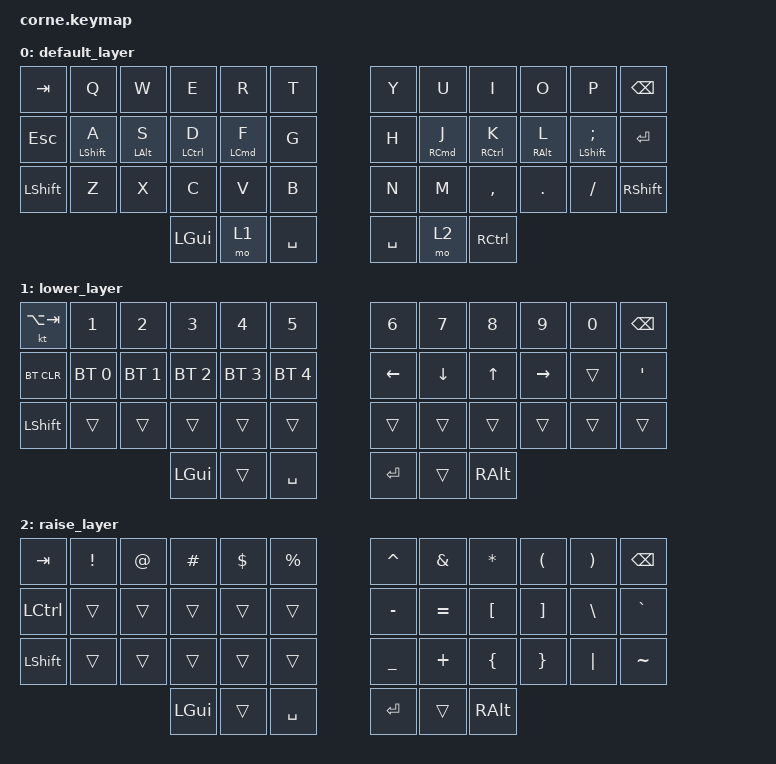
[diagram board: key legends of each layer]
/*
 * Copyright (c) 2020 The ZMK Contributors
 *
 * SPDX-License-Identifier: MIT
 */

#include <behaviors.dtsi>
#include <dt-bindings/zmk/bt.h>
#include <dt-bindings/zmk/keys.h>
#include <dt-bindings/zmk/keys.h>

/ {
    behaviors {
        hm: hm {
            compatible = "zmk,behavior-hold-tap";
            label = "HM";
            bindings = <&kp>, <&kp>;

            #binding-cells = <2>;
            tapping-term-ms = <200>;
            quick-tap-ms = <125>;
            flavor = "tap-preferred";
        };
    };

    keymap {
        compatible = "zmk,keymap";

        default_layer {
            // -----------------------------------------------------------------------------------------
            // |  TAB |  Q  |  W  |  E  |  R  |  T  |   |  Y  |  U   |  I  |  O  |  P  | BSPC |
            // | CTRL |  A  |  S  |  D  |  F  |  G  |   |  H  |  J   |  K  |  L  |  ;  |  '   |
            // | SHFT |  Z  |  X  |  C  |  V  |  B  |   |  N  |  M   |  ,  |  .  |  /  | ESC  |
            //                    | GUI | LWR | SPC |   | ENT | RSE  | ALT |

            bindings = <
&kp TAB     &kp Q             &kp W           &kp E               &kp R               &kp T        &kp Y      &kp U                &kp I                &kp O            &kp P                &kp BSPC
&kp ESCAPE  &hm LEFT_SHIFT A  &hm LEFT_ALT S  &hm LEFT_CONTROL D  &hm LEFT_COMMAND F  &kp G        &kp H      &hm RIGHT_COMMAND J  &hm RIGHT_CONTROL K  &hm RIGHT_ALT L  &hm LEFT_SHIFT SEMI  &kp ENTER
&kp LSHFT   &kp Z             &kp X           &kp C               &kp V               &kp B        &kp N      &kp M                &kp COMMA            &kp DOT          &kp FSLH             &kp RIGHT_SHIFT
                                              &kp LGUI            &mo 1               &kp SPACE    &kp SPACE  &mo 2                &kp RCTRL
            >;
        };

        lower_layer {
            // -----------------------------------------------------------------------------------------
            // |  TAB |  1  |  2  |  3  |  4  |  5  |   |  6  |  7  |  8  |  9  |  0  | BSPC |
            // | BTCLR| BT1 | BT2 | BT3 | BT4 | BT5 |   | LFT | DWN |  UP | RGT |     |      |
            // | SHFT |     |     |     |     |     |   |     |     |     |     |     |      |
            //                    | GUI |     | SPC |   | ENT |     | ALT |

            bindings = <
&kt LA(TAB)  &kp N1        &kp N2        &kp N3        &kp N4        &kp N5          &kp N6    &kp N7    &kp N8    &kp N9     &kp N0  &kp BSPC
&bt BT_CLR   &bt BT_SEL 0  &bt BT_SEL 1  &bt BT_SEL 2  &bt BT_SEL 3  &bt BT_SEL 4    &kp LEFT  &kp DOWN  &kp UP    &kp RIGHT  &trans  &kp APOS
&kp LSHFT    &trans        &trans        &trans        &trans        &trans          &trans    &trans    &trans    &trans     &trans  &trans
                                         &kp LGUI      &trans        &kp SPACE       &kp RET   &trans    &kp RALT
            >;
        };

        raise_layer {
            // -----------------------------------------------------------------------------------------
            // |  TAB |  !  |  @  |  #  |  $  |  %  |   |  ^  |  &  |  *  |  (  |  )  | BSPC |
            // | CTRL |     |     |     |     |     |   |  -  |  =  |  [  |  ]  |  \  |  `   |
            // | SHFT |     |     |     |     |     |   |  _  |  +  |  {  |  }  | "|" |  ~   |
            //                    | GUI |     | SPC |   | ENT |     | ALT |

            bindings = <
&kp TAB    &kp EXCL  &kp AT  &kp HASH  &kp DLLR  &kp PRCNT    &kp CARET  &kp AMPS   &kp ASTRK  &kp LPAR  &kp RPAR  &kp BSPC
&kp LCTRL  &trans    &trans  &trans    &trans    &trans       &kp MINUS  &kp EQUAL  &kp LBKT   &kp RBKT  &kp BSLH  &kp GRAVE
&kp LSHFT  &trans    &trans  &trans    &trans    &trans       &kp UNDER  &kp PLUS   &kp LBRC   &kp RBRC  &kp PIPE  &kp TILDE
                             &kp LGUI  &trans    &kp SPACE    &kp RET    &trans     &kp RALT
            >;
        };
    };
};
